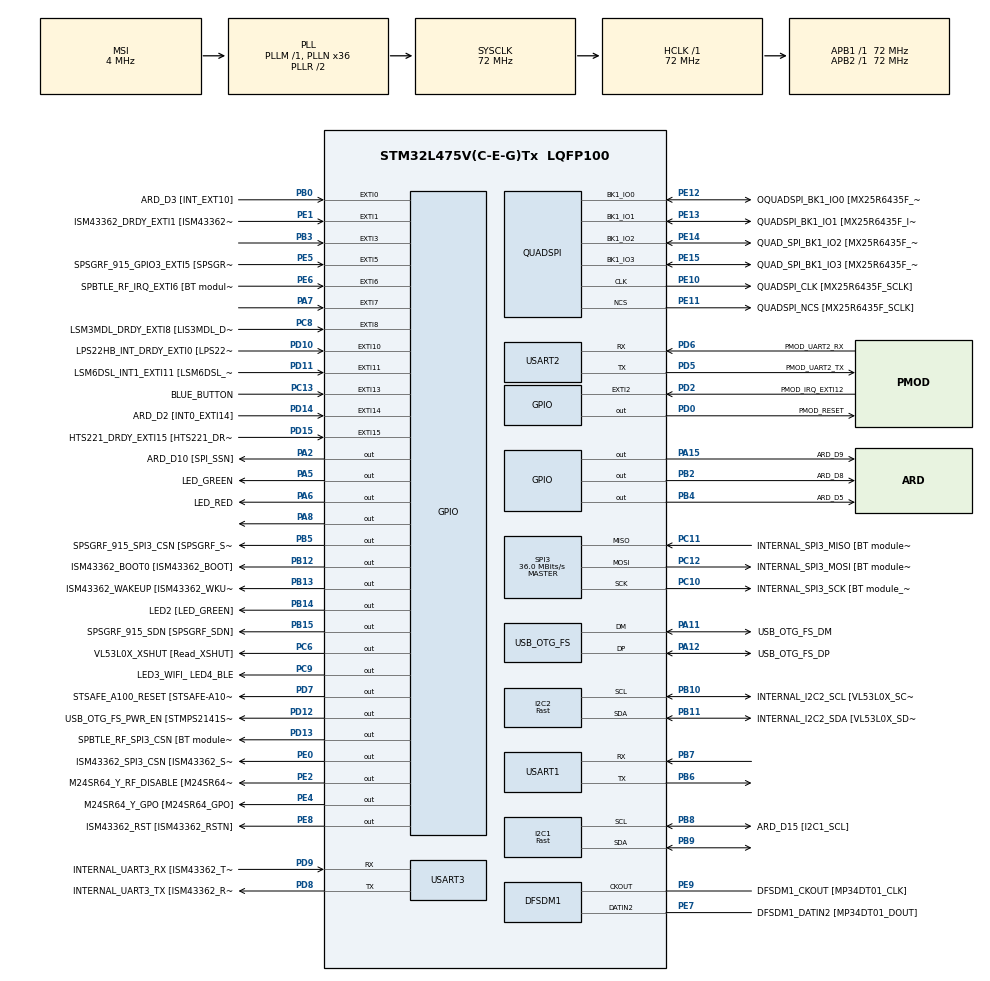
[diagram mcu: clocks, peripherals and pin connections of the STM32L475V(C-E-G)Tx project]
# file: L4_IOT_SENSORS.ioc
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I2C1.I2C_Speed_Mode=I2C_Fast
I2C1.Timing=0x00702681
I2C2.I2C_Speed_Mode=I2C_Fast
I2C2.Timing=0x00702681
Mcu.Family=STM32L4
Mcu.Name=STM32L475V(C-E-G)Tx
Mcu.Package=LQFP100
NVIC.EXTI15_10_IRQn=true\:0\:0\:false\:false\:true\:true\:true\:true
NVIC.EXTI3_IRQn=true\:0\:0\:false\:false\:true\:true\:true\:true
NVIC.EXTI9_5_IRQn=true\:0\:0\:false\:false\:true\:true\:true\:true
NVIC.PriorityGroup=NVIC_PRIORITYGROUP_4
PA0.GPIO_Label=ARD_D1 [UART4_TX]
PA0.Signal=UART4_TX
PA1.GPIO_Label=ARD_D0 [UART4_RX]
PA1.Signal=UART4_RX
PA10.GPIO_Label=USB_OTG_FS_ID
PA10.Signal=USB_OTG_FS_ID
PA11.GPIO_Label=USB_OTG_FS_DM
PA11.Mode=Device_Only
PA11.Signal=USB_OTG_FS_DM
PA12.GPIO_Label=USB_OTG_FS_DP
PA12.Mode=Device_Only
PA12.Signal=USB_OTG_FS_DP
PA13\ (JTMS-SWDIO).GPIO_Label=SYS_JTMS_SWDIO
PA13\ (JTMS-SWDIO).Mode=Serial_Wire
PA13\ (JTMS-SWDIO).Signal=SYS_JTMS-SWDIO
PA14\ (JTCK-SWCLK).GPIO_Label=SYS_JTCK_SWCLK
PA14\ (JTCK-SWCLK).Mode=Serial_Wire
PA14\ (JTCK-SWCLK).Signal=SYS_JTCK-SWCLK
PA15\ (JTDI).GPIO_Label=ARD_D9
PA15\ (JTDI).Signal=GPIO_Output
PA2.GPIO_Label=ARD_D10 [SPI_SSN]
PA2.Signal=GPIO_Output
PA3.GPIO_Label=ARD_D4
PA3.Signal=S_TIM2_CH4
PA4.GPIO_Label=ARD_D7
PA4.Signal=ADCx_IN9
PA5.GPIO_Label=LED_GREEN
PA5.Signal=GPIO_Output
PA6.GPIO_Label=LED_RED
PA6.Signal=GPIO_Output
PA7.Signal=GPXTI7
PA8.Signal=GPIO_Output
PA9.Signal=USB_OTG_FS_VBUS
PB0.GPIO_Label=ARD_D3 [INT_EXT10]
PB0.Signal=GPXTI0
PB1.GPIO_Label=ARD_D6 [ADC1_IN6]
PB1.Signal=ADCx_IN16
PB10.GPIO_Label=INTERNAL_I2C2_SCL [VL53L0X_SCL]
PB10.GPIO_Pu=GPIO_PULLUP
PB10.Mode=I2C
PB10.Signal=I2C2_SCL
PB11.GPIO_Label=INTERNAL_I2C2_SDA [VL53L0X_SDA]
PB11.GPIO_Pu=GPIO_PULLUP
PB11.Mode=I2C
PB11.Signal=I2C2_SDA
PB12.GPIO_Label=ISM43362_BOOT0 [ISM43362_BOOT]
PB12.Signal=GPIO_Output
PB13.GPIO_Label=ISM43362_WAKEUP [ISM43362_WKUP]
PB13.Signal=GPIO_Output
PB14.GPIO_Label=LED2 [LED_GREEN]
PB14.Signal=GPIO_Output
PB15.GPIO_Label=SPSGRF_915_SDN [SPSGRF_SDN]
PB15.Signal=GPIO_Output
PB2.GPIO_Label=ARD_D8
PB2.Signal=GPIO_Output
PB3\ (JTDO-TRACESWO).GPIO_ModeDefaultEXTI=GPIO_MODE_IT_FALLING
PB3\ (JTDO-TRACESWO).Signal=GPXTI3
PB4\ (NJTRST).GPIO_Label=ARD_D5
PB4\ (NJTRST).Signal=GPIO_Output
PB5.GPIO_Label=SPSGRF_915_SPI3_CSN [SPSGRF_SPI_CS]
PB5.PinState=GPIO_PIN_SET
PB5.Signal=GPIO_Output
PB6.Mode=Asynchronous
PB6.Signal=USART1_TX
PB7.Mode=Asynchronous
PB7.Signal=USART1_RX
PB8.GPIO_Label=ARD_D15 [I2C1_SCL]
PB8.Mode=I2C
PB8.Signal=I2C1_SCL
PB9.Mode=I2C
PB9.Signal=I2C1_SDA
PC0.GPIO_Label=ARD_A5 [ADC]
PC0.Signal=ADCx_IN1
PC1.GPIO_Label=ARD_A4 [ADC]
PC1.Signal=ADCx_IN2
PC10.GPIO_Label=INTERNAL_SPI3_SCK [BT module_SPI_SCLK] [ISM43362_SCK]
PC10.Mode=Full_Duplex_Master
PC10.Signal=SPI3_SCK
PC11.GPIO_Label=INTERNAL_SPI3_MISO [BT module_SPI_MISO] [ISM43362_MISO]
PC11.Mode=Full_Duplex_Master
PC11.Signal=SPI3_MISO
PC12.GPIO_Label=INTERNAL_SPI3_MOSI [BT module_SPI_MOSI] [ISM43362_MOSI]
PC12.Mode=Full_Duplex_Master
PC12.Signal=SPI3_MOSI
PC13.GPIO_Label=BLUE_BUTTON
PC13.GPIO_ModeDefaultEXTI=GPIO_MODE_IT_FALLING
PC13.Signal=GPXTI13
PC14-OSC32_IN\ (PC14).Mode=LSE-External-Oscillator
PC14-OSC32_IN\ (PC14).Signal=RCC_OSC32_IN
PC15-OSC32_OUT\ (PC15).Mode=LSE-External-Oscillator
PC15-OSC32_OUT\ (PC15).Signal=RCC_OSC32_OUT
PC2.GPIO_Label=ARD_A3 [ADC]
PC2.Signal=ADCx_IN3
PC3.GPIO_Label=ARD_A2 [ADC]
PC3.Signal=ADCx_IN4
PC4.GPIO_Label=ARD_A1 [ADC]
PC4.Signal=ADCx_IN13
PC5.GPIO_Label=ARD_A0 [ADC]
PC5.Signal=ADCx_IN14
PC6.GPIO_Label=VL53L0X_XSHUT [Read_XSHUT]
PC6.Signal=GPIO_Output
PC8.GPIO_Label=LSM3MDL_DRDY_EXTI8 [LIS3MDL_DRDY]
PC8.Signal=GPXTI8
PC9.GPIO_Label=LED3_WIFI_ LED4_BLE
PC9.Signal=GPIO_Output
PD0.GPIO_Label=PMOD_RESET
PD0.Signal=GPIO_Output
PD1.GPIO_Label=PMOD_SPI2_SCK
PD1.Signal=SPI2_SCK
PD10.GPIO_Label=LPS22HB_INT_DRDY_EXTI0 [LPS22HB_INT_DRDY] 
PD10.Signal=GPXTI10
PD11.GPIO_Label=LSM6DSL_INT1_EXTI11 [LSM6DSL_INT1]
PD11.Signal=GPXTI11
PD12.GPIO_Label=USB_OTG_FS_PWR_EN [STMPS2141STR_EN]
PD12.Signal=GPIO_Output
PD13.GPIO_Label=SPBTLE_RF_SPI3_CSN [BT module_SPI_CS]
PD13.PinState=GPIO_PIN_SET
PD13.Signal=GPIO_Output
PD14.GPIO_Label=ARD_D2 [INT0_EXTI14]
PD14.Signal=GPXTI14
PD15.GPIO_Label=HTS221_DRDY_EXTI15 [HTS221_DRDY]
PD15.Signal=GPXTI15
PD2.GPIO_Label=PMOD_IRQ_EXTI12
PD2.Signal=GPXTI2
PD3.GPIO_Label=PMOD_UART2_CTS
PD3.Signal=USART2_CTS
PD4.GPIO_Label=PMOD_UART2_RTS
PD4.Signal=USART2_RTS
PD5.GPIO_Label=PMOD_UART2_TX
PD5.Mode=Asynchronous
PD5.Signal=USART2_TX
PD6.GPIO_Label=PMOD_UART2_RX
PD6.Mode=Asynchronous
PD6.Signal=USART2_RX
PD7.GPIO_Label=STSAFE_A100_RESET [STSAFE-A100_RESET]
PD7.Signal=GPIO_Output
PD8.GPIO_Label=INTERNAL_UART3_TX [ISM43362_RX]
PD8.Mode=Asynchronous
PD8.Signal=USART3_TX
PD9.GPIO_Label=INTERNAL_UART3_RX [ISM43362_TX]
PD9.Mode=Asynchronous
PD9.Signal=USART3_RX
PE0.GPIO_Label=ISM43362_SPI3_CSN [ISM43362_SSN]
PE0.PinState=GPIO_PIN_SET
PE0.Signal=GPIO_Output
PE1.GPIO_Label=ISM43362_DRDY_EXTI1 [ISM43362_DATARDY]
PE1.Signal=GPXTI1
PE10.GPIO_Label=QUADSPI_CLK [MX25R6435F_SCLK]
PE10.Mode=Single Bank
PE10.Signal=QUADSPI_CLK
PE11.GPIO_Label=QUADSPI_NCS [MX25R6435F_SCLK]
PE11.Mode=Single Bank
PE11.Signal=QUADSPI_NCS
PE12.GPIO_Label=OQUADSPI_BK1_IO0 [MX25R6435F_IO0]
PE12.Mode=Single Bank
PE12.Signal=QUADSPI_BK1_IO0
PE13.GPIO_Label=QUADSPI_BK1_IO1 [MX25R6435F_IO1]
PE13.Mode=Single Bank
PE13.Signal=QUADSPI_BK1_IO1
PE14.GPIO_Label=QUAD_SPI_BK1_IO2 [MX25R6435F_IO2]
PE14.Mode=Single Bank
PE14.Signal=QUADSPI_BK1_IO2
PE15.GPIO_Label=QUAD_SPI_BK1_IO3 [MX25R6435F_IO3]
PE15.Mode=Single Bank
PE15.Signal=QUADSPI_BK1_IO3
PE2.GPIO_Label=M24SR64_Y_RF_DISABLE [M24SR64_RFDIS]
PE2.Signal=GPIO_Output
PE4.GPIO_Label=M24SR64_Y_GPO [M24SR64_GPO]
PE4.Signal=GPIO_Output
PE5.GPIO_Label=SPSGRF_915_GPIO3_EXTI5 [SPSGRF_GPIO_3]
PE5.Signal=GPXTI5
PE6.GPIO_Label=SPBTLE_RF_IRQ_EXTI6 [BT module_SPI_IRQ]
PE6.Signal=GPXTI6
PE7.GPIO_Label=DFSDM1_DATIN2 [MP34DT01_DOUT]
PE7.Signal=S_DATAIN2DFSDM1
PE8.GPIO_Label=ISM43362_RST [ISM43362_RSTN]
PE8.Signal=GPIO_Output
PE9.GPIO_Label=DFSDM1_CKOUT [MP34DT01_CLK]
PE9.Signal=S_CKOUTDFSDM1
ProjectManager.HeapSize=0x200
ProjectManager.StackSize=0x400
ProjectManager.TargetToolchain=STM32CubeIDE
QUADSPI.ClockPrescaler=2
QUADSPI.FifoThreshold=4
QUADSPI.FlashSize=23
QUADSPI.SampleShifting=QSPI_SAMPLE_SHIFTING_HALFCYCLE
RCC.ADCFreq_Value=48000000
RCC.AHBFreq_Value=72000000
RCC.APB1Freq_Value=72000000
RCC.APB1TimFreq_Value=72000000
RCC.APB2Freq_Value=72000000
RCC.APB2TimFreq_Value=72000000
RCC.CortexFreq_Value=72000000
RCC.HCLKFreq_Value=72000000
RCC.HSE_VALUE=8000000
RCC.HSI_VALUE=16000000
RCC.MSI_VALUE=4000000
RCC.PLLN=36
RCC.PLLSAI1N=24
RCC.SYSCLKFreq_VALUE=72000000
RCC.SYSCLKSource=RCC_SYSCLKSOURCE_PLLCLK
RCC.USBFreq_Value=48000000
RCC.VCOOutputFreq_Value=144000000
SH.ADCx_IN1.0=ADC1_IN1
SH.ADCx_IN13.0=ADC1_IN13
SH.ADCx_IN14.0=ADC1_IN14
SH.ADCx_IN16.0=ADC1_IN16
SH.ADCx_IN2.0=ADC1_IN2
SH.ADCx_IN3.0=ADC1_IN3
SH.ADCx_IN4.0=ADC1_IN4
SH.ADCx_IN9.0=ADC1_IN9
SH.S_CKOUTDFSDM1.0=DFSDM1_CKOUT,CKOUT
SH.S_CKOUTDFSDM1.1=DFSDM1_CKOUT,PDM_SPI_Input_from_ch12_and_Internal_Clock
SH.S_DATAIN2DFSDM1.0=DFSDM1_DATIN2,PDM_SPI_Input_from_ch12_and_Internal_Clock
SH.S_TIM2_CH4.0=TIM2_CH4
SPI3.CalculateBaudRate=36.0 MBits/s
SPI3.Direction=SPI_DIRECTION_2LINES
SPI3.Mode=SPI_MODE_MASTER
SPI3.VirtualType=VM_MASTER
USART1.VirtualMode-Asynchronous=VM_ASYNC
USART2.VirtualMode-Asynchronous=VM_ASYNC
USART3.VirtualMode-Asynchronous=VM_ASYNC
USB_OTG_FS.VirtualMode=Device_Only
board=B-L475E-IOT01A1

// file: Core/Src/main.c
/* USER CODE BEGIN Header */
/**
 ******************************************************************************
 * @file           : main.c
 * @brief          : Main program body
 ******************************************************************************
 * @attention
 *
 * Copyright (c) 2022 STMicroelectronics.
 * All rights reserved.
 *
 * This software is licensed under terms that can be found in the LICENSE file
 * in the root directory of this software component.
 * If no LICENSE file comes with this software, it is provided AS-IS.
 *
 ******************************************************************************
 */
/* USER CODE END Header */
#include "main.h"

/* USER CODE BEGIN Includes */

//Display oled I2C
#include "ssd1306.h"
#include "ssd1306_tests.h"

//Drivers
#include "stm32l475e_iot01.h"
#include <math.h>
#include <stdio.h>
#include "stdbool.h"

//Temperature sensor
#include "stm32l475e_iot01_tsensor.h"

//Accelerometer sensor
#include "stm32l475e_iot01_accelero.h"

//valor rms
#include "valorRMS.h"

/* USER CODE END Includes */

DFSDM_Channel_HandleTypeDef hdfsdm1_channel1;

I2C_HandleTypeDef hi2c1;
I2C_HandleTypeDef hi2c2;

QSPI_HandleTypeDef hqspi;

SPI_HandleTypeDef hspi3;

UART_HandleTypeDef huart1;
UART_HandleTypeDef huart2;
UART_HandleTypeDef huart3;

PCD_HandleTypeDef hpcd_USB_OTG_FS;

/* USER CODE BEGIN PV */

//Temperature sensor
float temp_value = 0;  // Measured temperature value
char str_tmp[100] = ""; // Formatted message to display the temperature value
char str_tmp2[100] = "";
char min_temp[10] = "";
char max_temp[10] = "";
char str_acx[100]="";
uint8_t msg1[] = "****** Temperature values measurement ******\n\n\r";
uint8_t msg2[] = "=====> Initialize Temperature sensor HTS221 \r\n";
uint8_t msg3[] = "=====> Temperature sensor HTS221 initialized \r\n ";

//Accelerometer sensor
int16_t acelerometer_value[3] = { 0 }; // Measured gyroscope value
char str_acel1[100] = ""; // Formatted message to display the gyroscope value
char str_acel2[100] = ""; // Formatted message to display the gyroscope value
char str_acel3[100] = ""; // Formatted message to display the gyroscope value
uint8_t msg7[] = "****** Acelerometer values measurement ******\n\n\r";
uint8_t msg8[] = "=====> Initialize Acelerometer sensor HTS221 \r\n";
uint8_t msg9[] = "=====> Acelerometer sensor LSM6DSL initialized \r\n ";

//Interruptions
uint8_t flag=0;

/* USER CODE END PV */

void SystemClock_Config(void);
static void MX_GPIO_Init(void);
static void MX_DFSDM1_Init(void);
static void MX_QUADSPI_Init(void);
static void MX_SPI3_Init(void);
static void MX_USART3_UART_Init(void);
static void MX_USB_OTG_FS_PCD_Init(void);
static void MX_I2C1_Init(void);
static void MX_USART1_UART_Init(void);
static void MX_I2C2_Init(void);
static void MX_USART2_UART_Init(void);

int main(void)
{

  /* MCU Configuration--------------------------------------------------------*/

  /* Reset of all peripherals, Initializes the Flash interface and the Systick. */
  HAL_Init();

  /* Configure the system clock */
  SystemClock_Config();

  /* Initialize all configured peripherals */
  MX_GPIO_Init();
  MX_DFSDM1_Init();
  MX_QUADSPI_Init();
  MX_SPI3_Init();
  MX_USART3_UART_Init();
  MX_USB_OTG_FS_PCD_Init();
  MX_I2C1_Init();
  MX_USART1_UART_Init();
  MX_I2C2_Init();
  MX_USART2_UART_Init();
  /* USER CODE BEGIN 2 */

	//Temperature Sensor
	HAL_UART_Transmit(&huart1, msg1, sizeof(msg1), 1000);
	HAL_UART_Transmit(&huart1, msg2, sizeof(msg2), 1000);
	BSP_TSENSOR_Init();
	HAL_UART_Transmit(&huart1, msg3, sizeof(msg3), 1000);

	//Accelerometer Sensor
	HAL_UART_Transmit(&huart1, msg7, sizeof(msg7), 1000);
	HAL_UART_Transmit(&huart1, msg8, sizeof(msg8), 1000);
	BSP_ACCELERO_Init();
	HAL_UART_Transmit(&huart1, msg9, sizeof(msg9), 1000);

	// Interrupções

	//Display oled i2c
	ssd1306_Init();

  /* USER CODE END 2 */

  /* Infinite loop */
  /* USER CODE BEGIN WHILE */

	float buf_temp[10] = {};
	float buf_ac[3][10] = {};
	int i = 0,j = 0;
	bool fullArray1 = false,fullArray2 = false;
	float new_temp = 0;
	float new_acX = 0;
	float new_acY = 0;
	float new_acZ = 0;

	while (1) {
    /* USER CODE END WHILE */

    /* USER CODE BEGIN 3 */

		//Temperature Sensor
		temp_value = BSP_TSENSOR_ReadTemp();
		int tmpInt1 = temp_value;
		float tmpFrac = temp_value - tmpInt1;
		int tmpInt2 = trunc(tmpFrac * 100);
		snprintf(str_tmp, 100, " TEMPERATURE = %d.%02d\n\r", tmpInt1, tmpInt2);
		HAL_UART_Transmit(&huart1, (uint8_t*) str_tmp, sizeof(str_tmp), 1000);

		//Valores em RMS
		// Criação do buffer de temperatura

			buf_temp[i] = temp_value;
			float min =buf_temp[0],max =buf_temp[0];
			i++;

			if(fullArray1){
				new_temp = valorRMS(buf_temp, 10);
			}
			else{
				new_temp = valorRMS(buf_temp,i);
		 }

			if(i == 10){
				i = 0;
				fullArray1 = true;
			}
			if(buf_temp[i] > max ){
				//min = buf_temp[i-1];
				if(1==flag){
					max = 0;
					flag=0;
					HAL_Delay(1000);
				}
				max = buf_temp[i];
			}
			if( buf_temp[i]< min ){
				if(1==flag){
					min = 0;
					flag=0;
					HAL_Delay(1000);
				}
				min = buf_temp[i];
				//max =  buf_temp[i-1];
			}

		int min1 = min;
		float minFrac = min - min1;
		int min2 = trunc(minFrac * 100);

		int max1 = min;
		float maxFrac = max - max1;
		int max2 = trunc(maxFrac * 100);

		snprintf(str_tmp2, 100, "RMS = %d.%02d\n\r", tmpInt1, tmpInt2);
		snprintf(min_temp, 100, "MIN = %d.%02d\n\r", min1,min2);
		snprintf(max_temp, 100, "MAX = %d.%02d\n\r", max1, max2);
		HAL_UART_Transmit(&huart1, (uint8_t*) str_tmp2, sizeof(str_tmp2), 1000);

		//Accelerometer Sensor
		BSP_ACCELERO_AccGetXYZ(acelerometer_value);
		int acelXInt1 = acelerometer_value[0];
		float acelXFrac = acelerometer_value[0] - acelXInt1;
		int acelXInt2 = trunc(acelXFrac * 100);

		int acelYInt1 = acelerometer_value[1];
		float acelYFrac = acelerometer_value[1] - acelYInt1;
		int acelYInt2 = trunc(acelYFrac * 100);

		int acelZInt1 = acelerometer_value[2];
		float acelZFrac = acelerometer_value[2] - acelZInt1;
		int acelZInt2 = trunc(acelZFrac * 100);

		snprintf(str_acel1, 100, " ACEL_X = %d.%02d\n\r", acelXInt1, acelXInt2);
		snprintf(str_acel2, 100, " ACEL_Y = %d.%02d\n\r", acelYInt1, acelYInt2);
		snprintf(str_acel3, 100, " ACEL_Z = %d.%02d\n\n\r", acelZInt1, acelZInt2);
		HAL_UART_Transmit(&huart1, (uint8_t*) str_acel1, sizeof(str_acel1),1000);
		HAL_UART_Transmit(&huart1, (uint8_t*) str_acel2, sizeof(str_acel2),1000);
		HAL_UART_Transmit(&huart1, (uint8_t*) str_acel3, sizeof(str_acel3),1000);

		// Criação do buffer do acelerometro x

		buf_ac[0][j] = acelerometer_value[0];
		buf_ac[1][j] = acelerometer_value[1];
		buf_ac[2][j] = acelerometer_value[2];
		j++;

		if(fullArray2){
			new_acX = valorRMS(buf_ac[0], 10);
			new_acY = valorRMS(buf_ac[1], 10);
			new_acZ = valorRMS(buf_ac[2], 10);
		}
		else{
			new_acX = valorRMS(buf_ac[0], j);
			new_acY = valorRMS(buf_ac[1], j);
			new_acZ = valorRMS(buf_ac[2], j);
		}

		if(j == 10){
			j = 0;
			fullArray2 = true;
		}

		int acx = new_acX;
		float acxFrac = acx - new_acX;
		int rmsAcx = trunc(acxFrac * 100);

		snprintf(str_acx, 100, " RMS_X = %d.%02d\n\n\r", acx, rmsAcx);

//		// Criação do buffer do acelerometro y
//
//		int buf_acY[10] = {};
//		int j = 0;
//		bool fullArray2 = false;
//		float new_acelY = 0;
//
//		p1.buf_acY[i] = temp_value;
//		i++;
//
//		if(fullArray){
//			float new_acY = valorRMS(buf_acY, 10);
//		}
//		else{
//			float new_acY = valorRMS(buf_acY,i);
//		}
//
//		if(i == 10){
//			i = 0;
//			fullArray = true;
//		}
//
//
//
//		// Criação do buffer do acelerometro z
//
//		int buf_acZ[10] = {};
//		int j = 0;
//		bool fullArray4 = false;
//		float new_acelZ = 0;
//
//		p1.buf_acZ[i] = new_acelZ;
//		i++;
//
//		if(fullArray){
//			float new_acx = valorRMS(buf_acx, 10);
//		}
//		else{
//			float new_acx = valorRMS(buf_acx,i);
//		}
//
//		if(i == 10){
//			i = 0;
//			fullArray = true;
//		}

		//Display oled i2c

		ssd1306_Fill(White);
	    ssd1306_SetCursor(0, 10);
		ssd1306_WriteString("TEMPERATURA", Font_6x8, Black);
		ssd1306_SetCursor(0, 20);
		ssd1306_WriteString(min_temp, Font_6x8, Black);
		ssd1306_SetCursor(0, 30);
		ssd1306_WriteString(max_temp, Font_6x8, Black);
		ssd1306_SetCursor(0, 40);
		ssd1306_WriteString(str_tmp2, Font_6x8, Black);
		ssd1306_UpdateScreen();
		HAL_Delay(1000);
		/*ssd1306_SetCursor(0, 10);
		ssd1306_WriteString("ACELERACAO:", Font_6x8, Black);
		ssd1306_SetCursor(0, 20);
		ssd1306_WriteString(str_acel1, Font_6x8, Black);
		ssd1306_SetCursor(0, 30);
		ssd1306_WriteString(str_acel2, Font_6x8, Black);
		ssd1306_SetCursor(0, 40);
		ssd1306_WriteString(str_acel3, Font_6x8, Black);
		ssd1306_SetCursor(0, 50);
				ssd1306_WriteString(str_acx, Font_6x8, Black);
		ssd1306_UpdateScreen();
		HAL_Delay(3000);*/

		// Interrupções

		if(1==flag){
			HAL_GPIO_TogglePin(LED_GREEN_GPIO_Port, LED_GREEN_Pin);
			min=0;
			max=0;
			HAL_Delay(1000);
			flag=0;

		}
}

	}
  /* USER CODE END 3 */

void SystemClock_Config(void)
{
  RCC_OscInitTypeDef RCC_OscInitStruct = {0};
  RCC_ClkInitTypeDef RCC_ClkInitStruct = {0};

  /** Configure the main internal regulator output voltage
  */
  if (HAL_PWREx_ControlVoltageScaling(PWR_REGULATOR_VOLTAGE_SCALE1) != HAL_OK)
  {
    Error_Handler();
  }

  /** Configure LSE Drive Capability
  */
  HAL_PWR_EnableBkUpAccess();
  __HAL_RCC_LSEDRIVE_CONFIG(RCC_LSEDRIVE_LOW);

  /** Initializes the RCC Oscillators according to the specified parameters
  * in the RCC_OscInitTypeDef structure.
  */
  RCC_OscInitStruct.OscillatorType = RCC_OSCILLATORTYPE_LSE|RCC_OSCILLATORTYPE_MSI;
  RCC_OscInitStruct.LSEState = RCC_LSE_ON;
  RCC_OscInitStruct.MSIState = RCC_MSI_ON;
  RCC_OscInitStruct.MSICalibrationValue = 0;
  RCC_OscInitStruct.MSIClockRange = RCC_MSIRANGE_6;
  RCC_OscInitStruct.PLL.PLLState = RCC_PLL_ON;
  RCC_OscInitStruct.PLL.PLLSource = RCC_PLLSOURCE_MSI;
  RCC_OscInitStruct.PLL.PLLM = 1;
  RCC_OscInitStruct.PLL.PLLN = 36;
  RCC_OscInitStruct.PLL.PLLP = RCC_PLLP_DIV7;
  RCC_OscInitStruct.PLL.PLLQ = RCC_PLLQ_DIV2;
  RCC_OscInitStruct.PLL.PLLR = RCC_PLLR_DIV2;
  if (HAL_RCC_OscConfig(&RCC_OscInitStruct) != HAL_OK)
  {
    Error_Handler();
  }

  /** Initializes the CPU, AHB and APB buses clocks
  */
  RCC_ClkInitStruct.ClockType = RCC_CLOCKTYPE_HCLK|RCC_CLOCKTYPE_SYSCLK
                              |RCC_CLOCKTYPE_PCLK1|RCC_CLOCKTYPE_PCLK2;
  RCC_ClkInitStruct.SYSCLKSource = RCC_SYSCLKSOURCE_PLLCLK;
  RCC_ClkInitStruct.AHBCLKDivider = RCC_SYSCLK_DIV1;
  RCC_ClkInitStruct.APB1CLKDivider = RCC_HCLK_DIV1;
  RCC_ClkInitStruct.APB2CLKDivider = RCC_HCLK_DIV1;

  if (HAL_RCC_ClockConfig(&RCC_ClkInitStruct, FLASH_LATENCY_4) != HAL_OK)
  {
    Error_Handler();
  }

  /** Enable MSI Auto calibration
  */
  HAL_RCCEx_EnableMSIPLLMode();
}

static void MX_DFSDM1_Init(void)
{

  hdfsdm1_channel1.Instance = DFSDM1_Channel1;
  hdfsdm1_channel1.Init.OutputClock.Activation = ENABLE;
  hdfsdm1_channel1.Init.OutputClock.Selection = DFSDM_CHANNEL_OUTPUT_CLOCK_SYSTEM;
  hdfsdm1_channel1.Init.OutputClock.Divider = 2;
  hdfsdm1_channel1.Init.Input.Multiplexer = DFSDM_CHANNEL_EXTERNAL_INPUTS;
  hdfsdm1_channel1.Init.Input.DataPacking = DFSDM_CHANNEL_STANDARD_MODE;
  hdfsdm1_channel1.Init.Input.Pins = DFSDM_CHANNEL_FOLLOWING_CHANNEL_PINS;
  hdfsdm1_channel1.Init.SerialInterface.Type = DFSDM_CHANNEL_SPI_RISING;
  hdfsdm1_channel1.Init.SerialInterface.SpiClock = DFSDM_CHANNEL_SPI_CLOCK_INTERNAL;
  hdfsdm1_channel1.Init.Awd.FilterOrder = DFSDM_CHANNEL_FASTSINC_ORDER;
  hdfsdm1_channel1.Init.Awd.Oversampling = 1;
  hdfsdm1_channel1.Init.Offset = 0;
  hdfsdm1_channel1.Init.RightBitShift = 0x00;
  if (HAL_DFSDM_ChannelInit(&hdfsdm1_channel1) != HAL_OK)
  {
    Error_Handler();
  }

}

static void MX_I2C1_Init(void)
{

  hi2c1.Instance = I2C1;
  hi2c1.Init.Timing = 0x00702681;
  hi2c1.Init.OwnAddress1 = 0;
  hi2c1.Init.AddressingMode = I2C_ADDRESSINGMODE_7BIT;
  hi2c1.Init.DualAddressMode = I2C_DUALADDRESS_DISABLE;
  hi2c1.Init.OwnAddress2 = 0;
  hi2c1.Init.OwnAddress2Masks = I2C_OA2_NOMASK;
  hi2c1.Init.GeneralCallMode = I2C_GENERALCALL_DISABLE;
  hi2c1.Init.NoStretchMode = I2C_NOSTRETCH_DISABLE;
  if (HAL_I2C_Init(&hi2c1) != HAL_OK)
  {
    Error_Handler();
  }

  /** Configure Analogue filter
  */
  if (HAL_I2CEx_ConfigAnalogFilter(&hi2c1, I2C_ANALOGFILTER_ENABLE) != HAL_OK)
  {
    Error_Handler();
  }

  /** Configure Digital filter
  */
  if (HAL_I2CEx_ConfigDigitalFilter(&hi2c1, 0) != HAL_OK)
  {
    Error_Handler();
  }

}

static void MX_I2C2_Init(void)
{

  hi2c2.Instance = I2C2;
  hi2c2.Init.Timing = 0x00702681;
  hi2c2.Init.OwnAddress1 = 0;
  hi2c2.Init.AddressingMode = I2C_ADDRESSINGMODE_7BIT;
  hi2c2.Init.DualAddressMode = I2C_DUALADDRESS_DISABLE;
  hi2c2.Init.OwnAddress2 = 0;
  hi2c2.Init.OwnAddress2Masks = I2C_OA2_NOMASK;
  hi2c2.Init.GeneralCallMode = I2C_GENERALCALL_DISABLE;
  hi2c2.Init.NoStretchMode = I2C_NOSTRETCH_DISABLE;
  if (HAL_I2C_Init(&hi2c2) != HAL_OK)
  {
    Error_Handler();
  }

  /** Configure Analogue filter
  */
  if (HAL_I2CEx_ConfigAnalogFilter(&hi2c2, I2C_ANALOGFILTER_ENABLE) != HAL_OK)
  {
    Error_Handler();
  }

  /** Configure Digital filter
  */
  if (HAL_I2CEx_ConfigDigitalFilter(&hi2c2, 0) != HAL_OK)
  {
    Error_Handler();
  }

}

static void MX_QUADSPI_Init(void)
{

  /* QUADSPI parameter configuration*/
  hqspi.Instance = QUADSPI;
  hqspi.Init.ClockPrescaler = 2;
  hqspi.Init.FifoThreshold = 4;
  hqspi.Init.SampleShifting = QSPI_SAMPLE_SHIFTING_HALFCYCLE;
  hqspi.Init.FlashSize = 23;
  hqspi.Init.ChipSelectHighTime = QSPI_CS_HIGH_TIME_1_CYCLE;
  hqspi.Init.ClockMode = QSPI_CLOCK_MODE_0;
  if (HAL_QSPI_Init(&hqspi) != HAL_OK)
  {
    Error_Handler();
  }

}

static void MX_SPI3_Init(void)
{

  /* SPI3 parameter configuration*/
  hspi3.Instance = SPI3;
  hspi3.Init.Mode = SPI_MODE_MASTER;
  hspi3.Init.Direction = SPI_DIRECTION_2LINES;
  hspi3.Init.DataSize = SPI_DATASIZE_4BIT;
  hspi3.Init.CLKPolarity = SPI_POLARITY_LOW;
  hspi3.Init.CLKPhase = SPI_PHASE_1EDGE;
  hspi3.Init.NSS = SPI_NSS_SOFT;
  hspi3.Init.BaudRatePrescaler = SPI_BAUDRATEPRESCALER_2;
  hspi3.Init.FirstBit = SPI_FIRSTBIT_MSB;
  hspi3.Init.TIMode = SPI_TIMODE_DISABLE;
  hspi3.Init.CRCCalculation = SPI_CRCCALCULATION_DISABLE;
  hspi3.Init.CRCPolynomial = 7;
  hspi3.Init.CRCLength = SPI_CRC_LENGTH_DATASIZE;
  hspi3.Init.NSSPMode = SPI_NSS_PULSE_ENABLE;
  if (HAL_SPI_Init(&hspi3) != HAL_OK)
  {
    Error_Handler();
  }

}

static void MX_USART1_UART_Init(void)
{

  huart1.Instance = USART1;
  huart1.Init.BaudRate = 115200;
  huart1.Init.WordLength = UART_WORDLENGTH_8B;
  huart1.Init.StopBits = UART_STOPBITS_1;
  huart1.Init.Parity = UART_PARITY_NONE;
  huart1.Init.Mode = UART_MODE_TX_RX;
  huart1.Init.HwFlowCtl = UART_HWCONTROL_NONE;
  huart1.Init.OverSampling = UART_OVERSAMPLING_16;
  huart1.Init.OneBitSampling = UART_ONE_BIT_SAMPLE_DISABLE;
  huart1.AdvancedInit.AdvFeatureInit = UART_ADVFEATURE_NO_INIT;
  if (HAL_UART_Init(&huart1) != HAL_OK)
  {
    Error_Handler();
  }

}

static void MX_USART2_UART_Init(void)
{

  huart2.Instance = USART2;
  huart2.Init.BaudRate = 115200;
  huart2.Init.WordLength = UART_WORDLENGTH_8B;
  huart2.Init.StopBits = UART_STOPBITS_1;
  huart2.Init.Parity = UART_PARITY_NONE;
  huart2.Init.Mode = UART_MODE_TX_RX;
  huart2.Init.HwFlowCtl = UART_HWCONTROL_NONE;
  huart2.Init.OverSampling = UART_OVERSAMPLING_16;
  huart2.Init.OneBitSampling = UART_ONE_BIT_SAMPLE_DISABLE;
  huart2.AdvancedInit.AdvFeatureInit = UART_ADVFEATURE_NO_INIT;
  if (HAL_UART_Init(&huart2) != HAL_OK)
  {
    Error_Handler();
  }

}

static void MX_USART3_UART_Init(void)
{

  huart3.Instance = USART3;
  huart3.Init.BaudRate = 115200;
  huart3.Init.WordLength = UART_WORDLENGTH_8B;
  huart3.Init.StopBits = UART_STOPBITS_1;
  huart3.Init.Parity = UART_PARITY_NONE;
  huart3.Init.Mode = UART_MODE_TX_RX;
  huart3.Init.HwFlowCtl = UART_HWCONTROL_NONE;
  huart3.Init.OverSampling = UART_OVERSAMPLING_16;
  huart3.Init.OneBitSampling = UART_ONE_BIT_SAMPLE_DISABLE;
  huart3.AdvancedInit.AdvFeatureInit = UART_ADVFEATURE_NO_INIT;
  if (HAL_UART_Init(&huart3) != HAL_OK)
  {
    Error_Handler();
  }

}

static void MX_USB_OTG_FS_PCD_Init(void)
{

  hpcd_USB_OTG_FS.Instance = USB_OTG_FS;
  hpcd_USB_OTG_FS.Init.dev_endpoints = 6;
  hpcd_USB_OTG_FS.Init.speed = PCD_SPEED_FULL;
  hpcd_USB_OTG_FS.Init.phy_itface = PCD_PHY_EMBEDDED;
  hpcd_USB_OTG_FS.Init.Sof_enable = DISABLE;
  hpcd_USB_OTG_FS.Init.low_power_enable = DISABLE;
  hpcd_USB_OTG_FS.Init.lpm_enable = DISABLE;
  hpcd_USB_OTG_FS.Init.battery_charging_enable = DISABLE;
  hpcd_USB_OTG_FS.Init.use_dedicated_ep1 = DISABLE;
  hpcd_USB_OTG_FS.Init.vbus_sensing_enable = DISABLE;
  if (HAL_PCD_Init(&hpcd_USB_OTG_FS) != HAL_OK)
  {
    Error_Handler();
  }

}

static void MX_GPIO_Init(void)
{
  GPIO_InitTypeDef GPIO_InitStruct = {0};

  /* GPIO Ports Clock Enable */
  __HAL_RCC_GPIOE_CLK_ENABLE();
  __HAL_RCC_GPIOC_CLK_ENABLE();
  __HAL_RCC_GPIOA_CLK_ENABLE();
  __HAL_RCC_GPIOB_CLK_ENABLE();
  __HAL_RCC_GPIOD_CLK_ENABLE();

  /*Configure GPIO pin Output Level */
  HAL_GPIO_WritePin(GPIOE, M24SR64_Y_RF_DISABLE_Pin|M24SR64_Y_GPO_Pin|ISM43362_RST_Pin, GPIO_PIN_RESET);

  /*Configure GPIO pin Output Level */
  HAL_GPIO_WritePin(GPIOA, ARD_D10_Pin|LED_GREEN_Pin|LED_RED_Pin|GPIO_PIN_8
                          |ARD_D9_Pin, GPIO_PIN_RESET);

  /*Configure GPIO pin Output Level */
  HAL_GPIO_WritePin(GPIOB, ARD_D8_Pin|ISM43362_BOOT0_Pin|ISM43362_WAKEUP_Pin|LED2_Pin
                          |SPSGRF_915_SDN_Pin|ARD_D5_Pin, GPIO_PIN_RESET);

  /*Configure GPIO pin Output Level */
  HAL_GPIO_WritePin(GPIOD, USB_OTG_FS_PWR_EN_Pin|PMOD_RESET_Pin|STSAFE_A100_RESET_Pin, GPIO_PIN_RESET);

  /*Configure GPIO pin Output Level */
  HAL_GPIO_WritePin(SPBTLE_RF_SPI3_CSN_GPIO_Port, SPBTLE_RF_SPI3_CSN_Pin, GPIO_PIN_SET);

  /*Configure GPIO pin Output Level */
  HAL_GPIO_WritePin(GPIOC, VL53L0X_XSHUT_Pin|LED3_WIFI__LED4_BLE_Pin, GPIO_PIN_RESET);

  /*Configure GPIO pin Output Level */
  HAL_GPIO_WritePin(SPSGRF_915_SPI3_CSN_GPIO_Port, SPSGRF_915_SPI3_CSN_Pin, GPIO_PIN_SET);

  /*Configure GPIO pin Output Level */
  HAL_GPIO_WritePin(ISM43362_SPI3_CSN_GPIO_Port, ISM43362_SPI3_CSN_Pin, GPIO_PIN_SET);

  /*Configure GPIO pins : M24SR64_Y_RF_DISABLE_Pin M24SR64_Y_GPO_Pin ISM43362_RST_Pin ISM43362_SPI3_CSN_Pin */
  GPIO_InitStruct.Pin = M24SR64_Y_RF_DISABLE_Pin|M24SR64_Y_GPO_Pin|ISM43362_RST_Pin|ISM43362_SPI3_CSN_Pin;
  GPIO_InitStruct.Mode = GPIO_MODE_OUTPUT_PP;
  GPIO_InitStruct.Pull = GPIO_NOPULL;
  GPIO_InitStruct.Speed = GPIO_SPEED_FREQ_LOW;
  HAL_GPIO_Init(GPIOE, &GPIO_InitStruct);

  /*Configure GPIO pins : SPSGRF_915_GPIO3_EXTI5_Pin SPBTLE_RF_IRQ_EXTI6_Pin ISM43362_DRDY_EXTI1_Pin */
  GPIO_InitStruct.Pin = SPSGRF_915_GPIO3_EXTI5_Pin|SPBTLE_RF_IRQ_EXTI6_Pin|ISM43362_DRDY_EXTI1_Pin;
  GPIO_InitStruct.Mode = GPIO_MODE_IT_RISING;
  GPIO_InitStruct.Pull = GPIO_NOPULL;
  HAL_GPIO_Init(GPIOE, &GPIO_InitStruct);

  /*Configure GPIO pin : BLUE_BUTTON_Pin */
  GPIO_InitStruct.Pin = BLUE_BUTTON_Pin;
  GPIO_InitStruct.Mode = GPIO_MODE_IT_FALLING;
  GPIO_InitStruct.Pull = GPIO_NOPULL;
  HAL_GPIO_Init(BLUE_BUTTON_GPIO_Port, &GPIO_InitStruct);

  /*Configure GPIO pins : ARD_A5_Pin ARD_A4_Pin ARD_A3_Pin ARD_A2_Pin
                           ARD_A1_Pin ARD_A0_Pin */
  GPIO_InitStruct.Pin = ARD_A5_Pin|ARD_A4_Pin|ARD_A3_Pin|ARD_A2_Pin
                          |ARD_A1_Pin|ARD_A0_Pin;
  GPIO_InitStruct.Mode = GPIO_MODE_ANALOG_ADC_CONTROL;
  GPIO_InitStruct.Pull = GPIO_NOPULL;
  HAL_GPIO_Init(GPIOC, &GPIO_InitStruct);

  /*Configure GPIO pins : ARD_D1_Pin ARD_D0_Pin */
  GPIO_InitStruct.Pin = ARD_D1_Pin|ARD_D0_Pin;
  GPIO_InitStruct.Mode = GPIO_MODE_AF_PP;
  GPIO_InitStruct.Pull = GPIO_NOPULL;
  GPIO_InitStruct.Speed = GPIO_SPEED_FREQ_VERY_HIGH;
  GPIO_InitStruct.Alternate = GPIO_AF8_UART4;
  HAL_GPIO_Init(GPIOA, &GPIO_InitStruct);

  /*Configure GPIO pins : ARD_D10_Pin LED_GREEN_Pin LED_RED_Pin PA8
                           ARD_D9_Pin */
  GPIO_InitStruct.Pin = ARD_D10_Pin|LED_GREEN_Pin|LED_RED_Pin|GPIO_PIN_8
                          |ARD_D9_Pin;
  GPIO_InitStruct.Mode = GPIO_MODE_OUTPUT_PP;
  GPIO_InitStruct.Pull = GPIO_NOPULL;
  GPIO_InitStruct.Speed = GPIO_SPEED_FREQ_LOW;
  HAL_GPIO_Init(GPIOA, &GPIO_InitStruct);

  /*Configure GPIO pin : ARD_D4_Pin */
  GPIO_InitStruct.Pin = ARD_D4_Pin;
  GPIO_InitStruct.Mode = GPIO_MODE_AF_PP;
  GPIO_InitStruct.Pull = GPIO_NOPULL;
  GPIO_InitStruct.Speed = GPIO_SPEED_FREQ_LOW;
  GPIO_InitStruct.Alternate = GPIO_AF1_TIM2;
  HAL_GPIO_Init(ARD_D4_GPIO_Port, &GPIO_InitStruct);

  /*Configure GPIO pin : ARD_D7_Pin */
  GPIO_InitStruct.Pin = ARD_D7_Pin;
  GPIO_InitStruct.Mode = GPIO_MODE_ANALOG_ADC_CONTROL;
  GPIO_InitStruct.Pull = GPIO_NOPULL;
  HAL_GPIO_Init(ARD_D7_GPIO_Port, &GPIO_InitStruct);

  /*Configure GPIO pin : PA7 */
  GPIO_InitStruct.Pin = GPIO_PIN_7;
  GPIO_InitStruct.Mode = GPIO_MODE_IT_RISING;
  GPIO_InitStruct.Pull = GPIO_NOPULL;
  HAL_GPIO_Init(GPIOA, &GPIO_InitStruct);

  /*Configure GPIO pin : ARD_D3_Pin */
  GPIO_InitStruct.Pin = ARD_D3_Pin;
  GPIO_InitStruct.Mode = GPIO_MODE_IT_RISING;
  GPIO_InitStruct.Pull = GPIO_NOPULL;
  HAL_GPIO_Init(ARD_D3_GPIO_Port, &GPIO_InitStruct);

  /*Configure GPIO pin : ARD_D6_Pin */
  GPIO_InitStruct.Pin = ARD_D6_Pin;
  GPIO_InitStruct.Mode = GPIO_MODE_ANALOG_ADC_CONTROL;
  GPIO_InitStruct.Pull = GPIO_NOPULL;
  HAL_GPIO_Init(ARD_D6_GPIO_Port, &GPIO_InitStruct);

  /*Configure GPIO pins : ARD_D8_Pin ISM43362_BOOT0_Pin ISM43362_WAKEUP_Pin LED2_Pin
                           SPSGRF_915_SDN_Pin ARD_D5_Pin SPSGRF_915_SPI3_CSN_Pin */
  GPIO_InitStruct.Pin = ARD_D8_Pin|ISM43362_BOOT0_Pin|ISM43362_WAKEUP_Pin|LED2_Pin
                          |SPSGRF_915_SDN_Pin|ARD_D5_Pin|SPSGRF_915_SPI3_CSN_Pin;
  GPIO_InitStruct.Mode = GPIO_MODE_OUTPUT_PP;
  GPIO_InitStruct.Pull = GPIO_NOPULL;
  GPIO_InitStruct.Speed = GPIO_SPEED_FREQ_LOW;
  HAL_GPIO_Init(GPIOB, &GPIO_InitStruct);

  /*Configure GPIO pins : LPS22HB_INT_DRDY_EXTI0_Pin LSM6DSL_INT1_EXTI11_Pin ARD_D2_Pin HTS221_DRDY_EXTI15_Pin
                           PMOD_IRQ_EXTI12_Pin */
  GPIO_InitStruct.Pin = LPS22HB_INT_DRDY_EXTI0_Pin|LSM6DSL_INT1_EXTI11_Pin|ARD_D2_Pin|HTS221_DRDY_EXTI15_Pin
                          |PMOD_IRQ_EXTI12_Pin;
  GPIO_InitStruct.Mode = GPIO_MODE_IT_RISING;
  GPIO_InitStruct.Pull = GPIO_NOPULL;
  HAL_GPIO_Init(GPIOD, &GPIO_InitStruct);

  /*Configure GPIO pins : USB_OTG_FS_PWR_EN_Pin SPBTLE_RF_SPI3_CSN_Pin PMOD_RESET_Pin STSAFE_A100_RESET_Pin */
  GPIO_InitStruct.Pin = USB_OTG_FS_PWR_EN_Pin|SPBTLE_RF_SPI3_CSN_Pin|PMOD_RESET_Pin|STSAFE_A100_RESET_Pin;
  GPIO_InitStruct.Mode = GPIO_MODE_OUTPUT_PP;
  GPIO_InitStruct.Pull = GPIO_NOPULL;
  GPIO_InitStruct.Speed = GPIO_SPEED_FREQ_LOW;
  HAL_GPIO_Init(GPIOD, &GPIO_InitStruct);

  /*Configure GPIO pins : VL53L0X_XSHUT_Pin LED3_WIFI__LED4_BLE_Pin */
  GPIO_InitStruct.Pin = VL53L0X_XSHUT_Pin|LED3_WIFI__LED4_BLE_Pin;
  GPIO_InitStruct.Mode = GPIO_MODE_OUTPUT_PP;
  GPIO_InitStruct.Pull = GPIO_NOPULL;
  GPIO_InitStruct.Speed = GPIO_SPEED_FREQ_LOW;
  HAL_GPIO_Init(GPIOC, &GPIO_InitStruct);

  /*Configure GPIO pin : LSM3MDL_DRDY_EXTI8_Pin */
  GPIO_InitStruct.Pin = LSM3MDL_DRDY_EXTI8_Pin;
  GPIO_InitStruct.Mode = GPIO_MODE_IT_RISING;
  GPIO_InitStruct.Pull = GPIO_NOPULL;
  HAL_GPIO_Init(LSM3MDL_DRDY_EXTI8_GPIO_Port, &GPIO_InitStruct);

  /*Configure GPIO pin : PMOD_SPI2_SCK_Pin */
  GPIO_InitStruct.Pin = PMOD_SPI2_SCK_Pin;
  GPIO_InitStruct.Mode = GPIO_MODE_AF_PP;
  GPIO_InitStruct.Pull = GPIO_NOPULL;
  GPIO_InitStruct.Speed = GPIO_SPEED_FREQ_VERY_HIGH;
  GPIO_InitStruct.Alternate = GPIO_AF5_SPI2;
  HAL_GPIO_Init(PMOD_SPI2_SCK_GPIO_Port, &GPIO_InitStruct);

  /*Configure GPIO pin : PB3 */
  GPIO_InitStruct.Pin = GPIO_PIN_3;
  GPIO_InitStruct.Mode = GPIO_MODE_IT_FALLING;
  GPIO_InitStruct.Pull = GPIO_NOPULL;
  HAL_GPIO_Init(GPIOB, &GPIO_InitStruct);

  /* EXTI interrupt init*/
  HAL_NVIC_SetPriority(EXTI3_IRQn, 0, 0);
  HAL_NVIC_EnableIRQ(EXTI3_IRQn);

  HAL_NVIC_SetPriority(EXTI9_5_IRQn, 0, 0);
  HAL_NVIC_EnableIRQ(EXTI9_5_IRQn);

  HAL_NVIC_SetPriority(EXTI15_10_IRQn, 0, 0);
  HAL_NVIC_EnableIRQ(EXTI15_10_IRQn);

}

/* USER CODE BEGIN 4 */
HAL_GPIO_EXTI_Callback(uint16_t GPIO_Pin){
	flag=1;
}
/* USER CODE END 4 */

void Error_Handler(void)
{
	__disable_irq();
	while (1) {
	}
}
